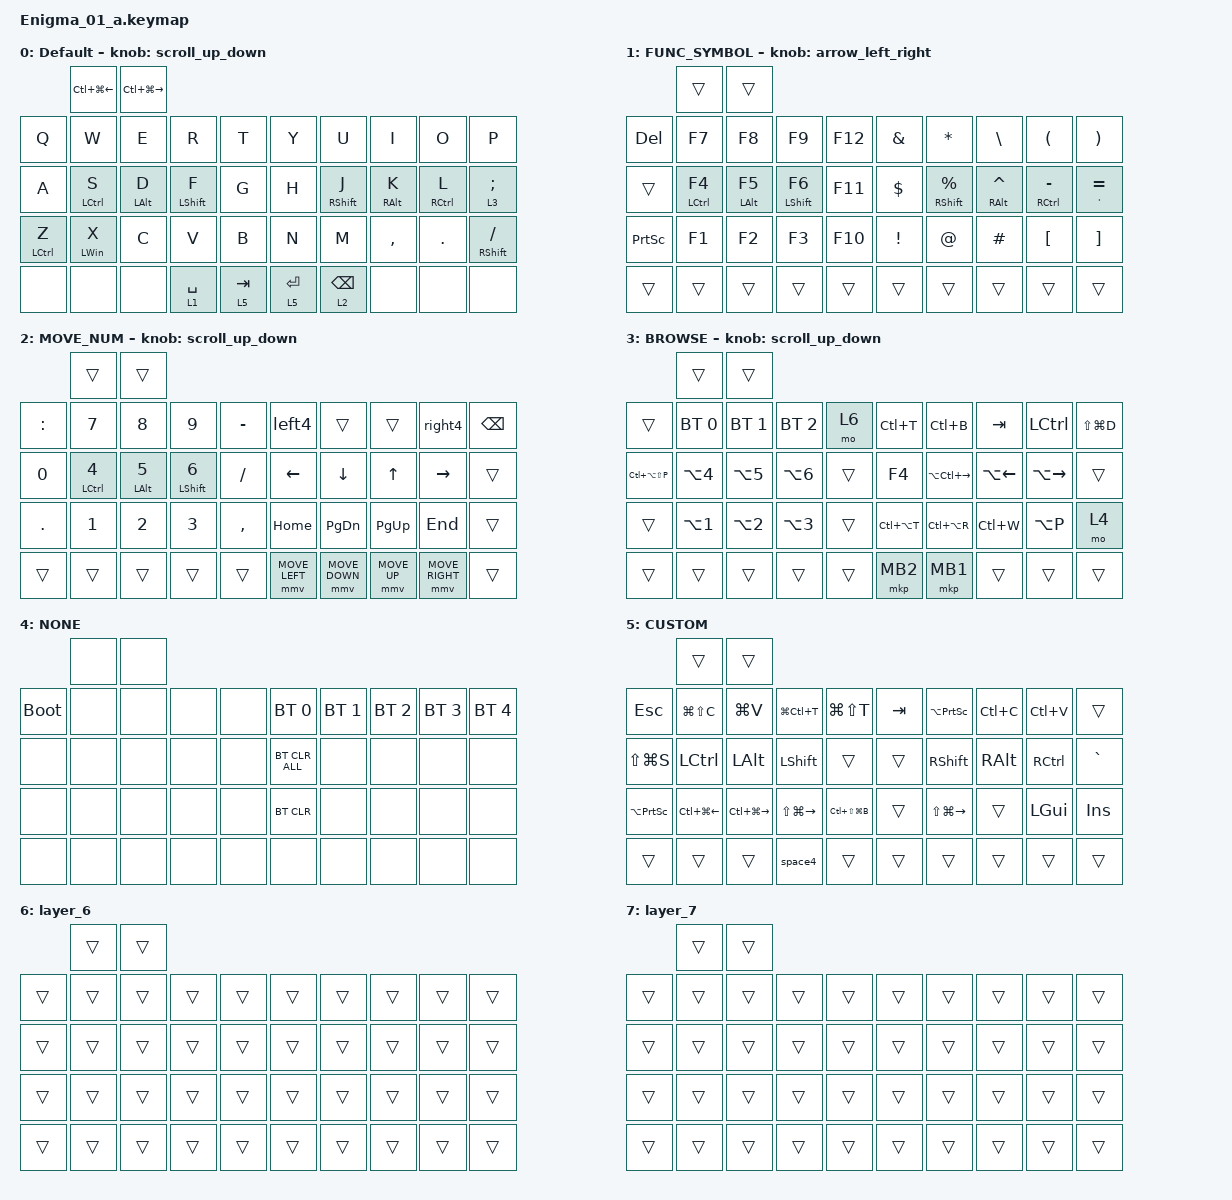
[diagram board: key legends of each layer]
#include <behaviors.dtsi>
#include <dt-bindings/zmk/bt.h>
#include <dt-bindings/zmk/keys.h>
#include <dt-bindings/zmk/pointing.h>

#define ZMK_POINTING_DEFAULT_SCRL_VAL 100

&mt {
    flavor = "balanced";
    quick-tap-ms = <300>;
};

&lt { quick-tap-ms = <300>; };

/ {
    // zmk-listeners

    layer_listeners {
        compatible = "zmk,layer-listeners";

        release_alt {
            layers = <4>;
            bindings = <&kt_on LEFT_ALT &kt_off LEFT_ALT>;
        };
    };

    macros {
        // zmk-listeners

        to_kp: to_kp {
            compatible = "zmk,behavior-macro-two-param";
            #binding-cells = <2>;
            bindings = <&macro_param_1to1 &to MACRO_PLACEHOLDER &macro_param_2to1 &kp MACRO_PLACEHOLDER>;
            label = "to_kp";
        };

        // zmk-listeners

        mo_to_0: mo_to_0 {
            compatible = "zmk,behavior-macro-one-param";
            wait-ms = <0>;
            tap-ms = <0>;
            #binding-cells = <1>;
            bindings =
                <&macro_press>,
                <&macro_param_1to1 &mo MACRO_PLACEHOLDER>,
                <&macro_tap>,
                <&macro_pause_for_release>,
                <&macro_release>,
                <&macro_param_1to1 &mo MACRO_PLACEHOLDER>,
                <&macro_tap>,
                <&to 0>;

            label = "MO_to_0";
        };

        space4: space4 {
            compatible = "zmk,behavior-macro";
            #binding-cells = <0>;
            bindings = <&kp SPACE &kp SPACE &kp SPACE &kp SPACE>;
            label = "SPACE4";
        };

        right4: right4 {
            compatible = "zmk,behavior-macro";
            #binding-cells = <0>;
            bindings = <&kp RIGHT &kp RIGHT &kp RIGHT &kp RIGHT>;
            label = "RIGHT4";
        };

        left4: left4 {
            compatible = "zmk,behavior-macro";
            #binding-cells = <0>;
            bindings = <&kp LEFT &kp LEFT &kp LEFT &kp LEFT>;
            label = "LEFT4";
        };
    };

    behaviors {
        // Layout shift

        original_key_press: original_key_press {
            compatible = "zmk,behavior-key-press";
            #binding-cells = <1>;
            label = "KEY_PRESS";
        };

        // Layout shift

        kp: key_press {
            compatible = "zmk,behavior-layout-shift-key-press";
            #binding-cells = <1>;
            label = "LAYOUT_SHIFT_KEY_PRESS";
        };

        // zmk-listeners

        kt_on: key_toggle_on_only {
            compatible = "zmk,behavior-key-toggle";
            #binding-cells = <1>;
            display-name = "Key Toggle On";
            toggle-mode = "on";
        };

        // zmk-listeners

        kt_off: key_toggle_off_only {
            compatible = "zmk,behavior-key-toggle";
            #binding-cells = <1>;
            display-name = "Key Toggle Off";
            toggle-mode = "off";
        };

        // zmk-listeners

        lt_to_0: lt_to_0 {
            compatible = "zmk,behavior-hold-tap";
            label = "LT_to_0";
            bindings = <&mo_to_0>, <&kp>;

            #binding-cells = <2>;
            tapping-term-ms = <200>;
            quick-tap-ms = <200>;
            flavor = "balanced";
        };

        scroll_up_down: behavior_sensor_rotate_mouse_wheel_up_down {
            compatible = "zmk,behavior-sensor-rotate";
            #sensor-binding-cells = <0>;
            bindings = <&msc SCRL_UP>, <&msc SCRL_DOWN>;

            tap-ms = <20>;
        };

        scroll_left_right: behavior_sensor_rotate_mouse_wheel_left_right {
            compatible = "zmk,behavior-sensor-rotate";
            #sensor-binding-cells = <0>;
            bindings = <&msc SCRL_LEFT>, <&msc SCRL_RIGHT>;

            tap-ms = <20>;
        };

        arrow_left_right: behavior_sensor_rotate_arrow_le {
            compatible = "zmk,behavior-sensor-rotate";
            #sensor-binding-cells = <0>;
            bindings = <&kp LEFT>, <&kp RIGHT>;

            tap-ms = <20>;
        };

        arrow_up_down: behavior_sensor_rotate_arrow_up {
            compatible = "zmk,behavior-sensor-rotate";
            #sensor-binding-cells = <0>;
            bindings = <&kp UP>, <&kp DOWN>;

            tap-ms = <20>;
        };

        page_up_down: behavior_sensor_rotate_page_up_ {
            compatible = "zmk,behavior-sensor-rotate";
            #sensor-binding-cells = <0>;
            bindings = <&kp PAGE_UP>, <&kp PAGE_DOWN>;

            tap-ms = <20>;
        };

        tp1: tab_ctrl_q {
            compatible = "zmk,behavior-tap-dance";
            label = "tab_ctrl_q";
            #binding-cells = <0>;
            bindings = <&mt LCTRL TAB>, <&kp Q>;
        };

        tp2: shift_ctrl {
            compatible = "zmk,behavior-tap-dance";
            label = "shift_ctrl";
            #binding-cells = <0>;
            bindings = <&kp LSHIFT>, <&kp LCTRL>;
        };

        tp4: f7_toALT_f8 {
            compatible = "zmk,behavior-tap-dance";
            label = "f7_toALT_f8";
            #binding-cells = <0>;
            bindings = <&lt_to_0 4 F7>, <&kp F8>;
        };

        tp3: hz_toALT {
            compatible = "zmk,behavior-tap-dance";
            label = "hz_toALT";
            #binding-cells = <0>;
            bindings = <&lt_to_0 4 GRAVE>;
        };
    };

    combos {
        compatible = "zmk,combos";

        cmb_delete {
            bindings = <&kp DELETE>;
            key-positions = <10 11>;
        };

        cmb_combo {
            bindings = <&kp ESCAPE>;
            key-positions = <2 3>;
        };

        cmb_minus {
            bindings = <&kp MINUS>;
            key-positions = <21 20>;
        };

        cmb_single {
            bindings = <&kp SINGLE_QUOTE>;
            key-positions = <30 31>;
        };

        cmb_jp {
            bindings = <&kp LANG1>;
            key-positions = <29 28>;
        };

        cmb_eng {
            bindings = <&kp LANG2>;
            key-positions = <25 24>;
        };

        cmb_mb2 {
            bindings = <&mkp MB2>;
            key-positions = <14 15>;
        };

        cmb_mb3 {
            bindings = <&mkp MB3>;
            key-positions = <22 23>;
        };
    };

    keymap {
        compatible = "zmk,keymap";

        Default {
            bindings = <
             &kp LC(LG(LEFT))  &kp LC(LG(RIGHT))
&kp Q        &kp W             &kp E              &kp R         &kp T      &kp Y        &kp U            &kp I            &kp O        &kp P
&kp A        &mt LCTRL S       &mt LEFT_ALT D     &mt LSHIFT F  &kp G      &kp H        &mt RSHIFT J     &mt RIGHT_ALT K  &mt RCTRL L  &lt 3 SEMICOLON
&mt LCTRL Z  &mt LWIN X        &kp C              &kp V         &kp B      &kp N        &kp M            &kp COMMA        &kp DOT      &mt RSHIFT SLASH
&none        &none             &none              &lt 1 SPACE   &lt 5 TAB  &lt 5 ENTER  &lt 2 BACKSPACE  &none            &none        &none
            >;

            sensor-bindings = <&scroll_up_down>;
        };

        FUNC_SYMBOL {
            bindings = <
                 &trans        &trans
&kp DELETE       &kp F7        &kp F8           &kp F9         &kp F12  &kp AMPERSAND    &kp ASTERISK        &kp BACKSLASH        &kp LEFT_PARENTHESIS  &kp RIGHT_PARENTHESIS
&trans           &mt LCTRL F4  &mt LEFT_ALT F5  &mt LSHIFT F6  &kp F11  &kp DOLLAR       &mt RSHIFT PERCENT  &mt RIGHT_ALT CARET  &mt RCTRL MINUS       &mt SQT EQUAL
&kp PRINTSCREEN  &kp F1        &kp F2           &kp F3         &kp F10  &kp EXCLAMATION  &kp AT_SIGN         &kp HASH             &kp LEFT_BRACKET      &kp RIGHT_BRACKET
&trans           &trans        &trans           &trans         &trans   &trans           &trans              &trans               &trans                &trans
            >;

            sensor-bindings = <&arrow_left_right>;
        };

        MOVE_NUM {
            bindings = <
           &trans              &trans
&kp COLON  &kp N7              &kp N8           &kp N9               &kp MINUS  &left4          &trans          &trans        &right4          &kp BACKSPACE
&kp N0     &mt LCTRL NUMBER_4  &mt LEFT_ALT N5  &mt LSHIFT NUMBER_6  &kp FSLH   &kp LEFT        &kp DOWN        &kp UP_ARROW  &kp RIGHT        &trans
&kp DOT    &kp N1              &kp N2           &kp N3               &kp COMMA  &kp HOME        &kp PAGE_DOWN   &kp PAGE_UP   &kp END          &trans
&trans     &trans              &trans           &trans               &trans     &mmv MOVE_LEFT  &mmv MOVE_DOWN  &mmv MOVE_UP  &mmv MOVE_RIGHT  &trans
            >;

            sensor-bindings = <&scroll_up_down>;
        };

        BROWSE {
            bindings = <
                   &trans        &trans
&trans             &bt BT_SEL 0  &bt BT_SEL 1  &bt BT_SEL 2  &mo 6   &kp LC(T)      &kp LC(B)          &kp TAB       &kp LCTRL      &kp LS(LG(D))
&kp LC(LA(LS(P)))  &kp LA(N4)    &kp LA(N5)    &kp LA(N6)    &trans  &kp F4         &kp LA(LC(RIGHT))  &kp LA(LEFT)  &kp LA(RIGHT)  &trans
&trans             &kp LA(N1)    &kp LA(N2)    &kp LA(N3)    &trans  &kp LC(LA(T))  &kp LC(LA(R))      &kp LC(W)     &kp LA(P)      &mo 4
&trans             &trans        &trans        &trans        &trans  &mkp MB2       &mkp MB1           &trans        &trans         &trans
            >;

            sensor-bindings = <&scroll_up_down>;
        };

        NONE {
            bindings = <
             &none  &none
&bootloader  &none  &none  &none  &none  &bt BT_SEL 0    &bt BT_SEL 1  &bt BT_SEL 2  &bt BT_SEL 3  &bt BT_SEL 4
&none        &none  &none  &none  &none  &bt BT_CLR_ALL  &none         &none         &none         &none
&none        &none  &none  &none  &none  &bt BT_CLR      &none         &none         &none         &none
&none        &none  &none  &none  &none  &none           &none         &none         &none         &none
            >;
        };

        CUSTOM {
            bindings = <
                     &trans            &trans
&kp ESC              &kp LG(LS(C))     &kp LG(V)          &kp LG(LC(T))      &kp LG(LS(T))      &kp TAB  &kp LA(PRINTSCREEN)  &kp LC(C)  &kp LC(V)  &trans
&kp LS(LG(S))        &kp LCTRL         &kp LALT           &kp LSHFT          &trans             &trans   &kp RSHFT            &kp RALT   &kp RCTRL  &kp GRAVE
&kp LA(PRINTSCREEN)  &kp LC(LG(LEFT))  &kp LC(LG(RIGHT))  &kp LS(LG(RIGHT))  &kp LC(LS(LG(B)))  &trans   &kp LS(LG(RIGHT))    &trans     &kp LGUI   &kp INS
&trans               &trans            &trans             &space4            &trans             &trans   &trans               &trans     &trans     &trans
            >;
        };

        layer_6 {
            bindings = <
        &trans  &trans
&trans  &trans  &trans  &trans  &trans  &trans  &trans  &trans  &trans  &trans
&trans  &trans  &trans  &trans  &trans  &trans  &trans  &trans  &trans  &trans
&trans  &trans  &trans  &trans  &trans  &trans  &trans  &trans  &trans  &trans
&trans  &trans  &trans  &trans  &trans  &trans  &trans  &trans  &trans  &trans
            >;
        };

        layer_7 {
            bindings = <
        &trans  &trans
&trans  &trans  &trans  &trans  &trans  &trans  &trans  &trans  &trans  &trans
&trans  &trans  &trans  &trans  &trans  &trans  &trans  &trans  &trans  &trans
&trans  &trans  &trans  &trans  &trans  &trans  &trans  &trans  &trans  &trans
&trans  &trans  &trans  &trans  &trans  &trans  &trans  &trans  &trans  &trans
            >;
        };
    };
};
